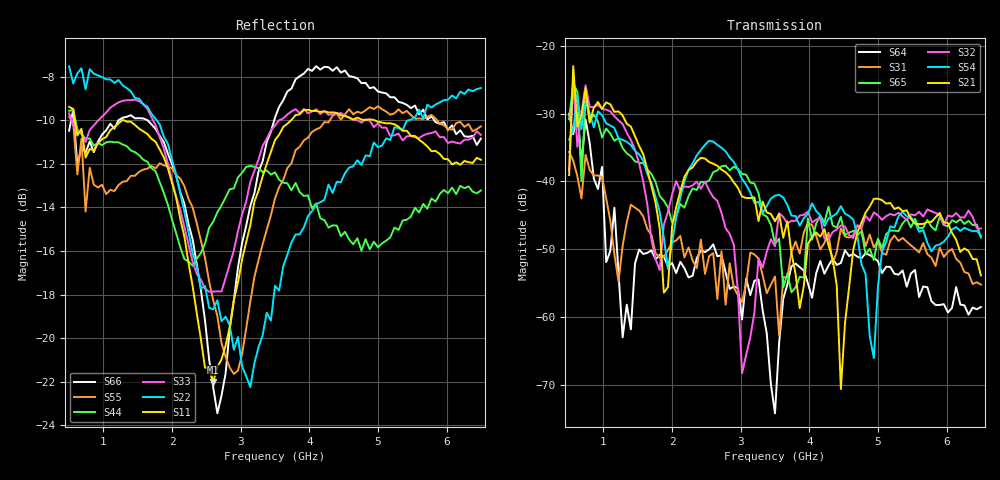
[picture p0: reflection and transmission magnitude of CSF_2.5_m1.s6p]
!Keysight Technologies,M9804A,MY58100912,A.14.10.03
!Date: Thursday, April 27, 2023 10:28:33
!Correction: S11(C  6-Port  )
!S12(C  6-Port  )
!S13(C  6-Port  )
!S14(C  6-Port  )
!S15(C  6-Port  )
!S16(C  6-Port  )
!S21(C  6-Port  )
!S22(C  6-Port  )
!S23(C  6-Port  )
!S24(C  6-Port  )
!S25(C  6-Port  )
!S26(C  6-Port  )
!S31(C  6-Port  )
!S32(C  6-Port  )
!S33(C  6-Port  )
!S34(C  6-Port  )
!S35(C  6-Port  )
!S36(C  6-Port  )
!S41(C  6-Port  )
!S42(C  6-Port  )
!S43(C  6-Port  )
!S44(C  6-Port  )
!S45(C  6-Port  )
!S46(C  6-Port  )
!S51(C  6-Port  )
!S52(C  6-Port  )
!S53(C  6-Port  )
!S54(C  6-Port  )
!S55(C  6-Port  )
!S56(C  6-Port  )
!S61(C  6-Port  )
!S62(C  6-Port  )
!S63(C  6-Port  )
!S64(C  6-Port  )
!S65(C  6-Port  )
!S66(C  6-Port  )
!S6P File: Measurement: :
# Hz S  RI  R 50
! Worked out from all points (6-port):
!   101 points, 500 MHz to 6.5 GHz, reference 50 ohm
!   strongest paths, dB at 500 MHz, 2 GHz, 3.5 GHz, 5 GHz, 6.5 GHz:
!     S21: -39.1, -46.7, -45.8, -42.5, -53.8
!     S54: -33.8, -49.0, -42.1, -55.5, -48.0
!     S32: -38.4, -41.9, -49.5, -45.0, -46.9
!     S65: -30.8, -46.0, -49.2, -48.4, -48.3
!     S31: -35.6, -48.9, -54.0, -48.8, -55.2
!     S64: -30.0, -52.0, -74.1, -51.7, -58.5
!   lowest |S11| = -22.0 dB at 2.6 GHz (marker M1), VSWR 1.17, Z = 42.9 + j2.05 ohm
!   |S11| at or under -10 dB: 585.4 MHz to 1.272 GHz (686.8 MHz wide, 73.9 % of centre); 1.296 GHz to 3.736 GHz (2.44 GHz wide, 97 % of centre); 4.95 GHz to end of sweep
